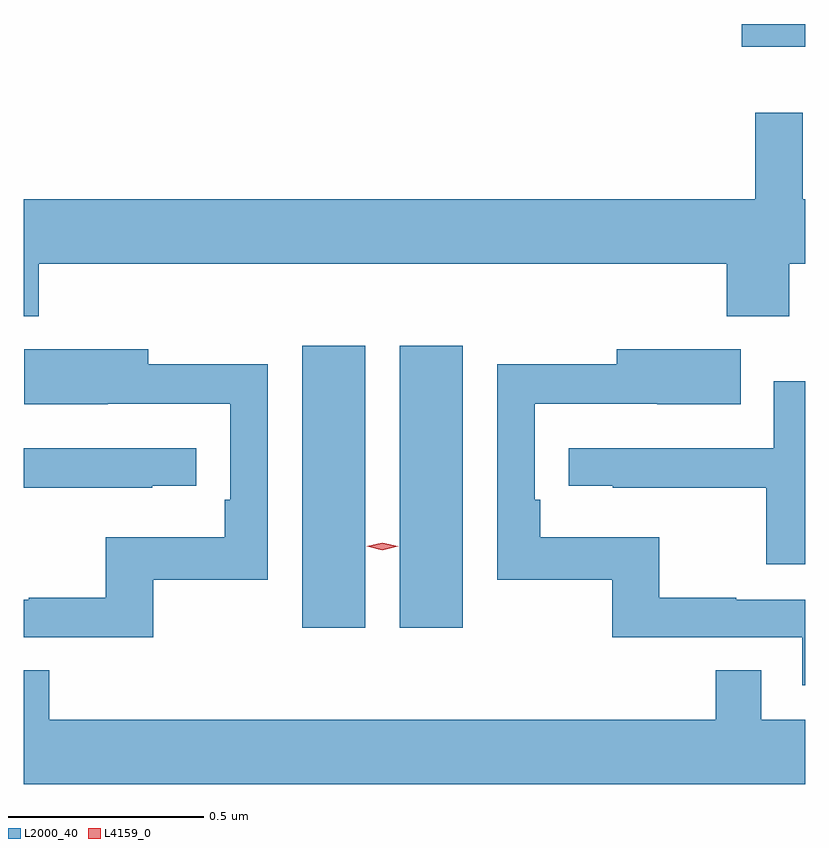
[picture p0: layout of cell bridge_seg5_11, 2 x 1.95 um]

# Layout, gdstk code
import gdstk
lib = gdstk.Library(unit=1e-6, precision=1e-09)
def R(c, l, rs):  # rectangles x0, y0, x1, y1
    for r in rs: c.add(gdstk.rectangle(r[:2], r[2:], *l))
def P(c, l, *ps):  # polygons
    for p in ps: c.add(gdstk.Polygon(p, *l))
L2000_40 = (2000, 40)
L4159_0 = (4159, 0)

bridge_seg5_11 = lib.new_cell('bridge_seg5_11')
R(bridge_seg5_11, L2000_40, [(1113.713,853.164,1113.874,853.885), (1113.962,853.164,1114.123,853.885), (1114.838,854.651,1115,854.709)])
P(bridge_seg5_11, L2000_40, [(1113.038,854.096),(1114.799,854.096),(1114.799,853.961),(1114.959,853.961),(1114.959,854.096),(1115,854.096),(1115,854.26),(1114.993,854.26),(1114.993,854.482),(1114.872,854.482),(1114.872,854.26),(1113,854.26),(1113,853.961),(1113.038,853.961)],
  [(1115,853.236),(1114.823,853.236),(1114.823,853.241),(1114.627,853.241),(1114.627,853.396),(1114.322,853.396),(1114.322,853.492),(1114.308,853.492),(1114.308,853.737),(1114.621,853.737),(1114.621,853.736),(1114.835,853.736),(1114.835,853.876),(1114.517,853.876),(1114.517,853.838),(1114.212,853.838),(1114.212,853.287),(1114.506,853.287),(1114.506,853.14),(1114.992,853.14),(1114.992,853.017),(1115,853.017)],
  [(1113.331,853.287),(1113.624,853.287),(1113.624,853.838),(1113.319,853.838),(1113.319,853.876),(1113.001,853.876),(1113.001,853.736),(1113.215,853.736),(1113.215,853.737),(1113.528,853.737),(1113.528,853.492),(1113.515,853.492),(1113.515,853.396),(1113.21,853.396),(1113.21,853.241),(1113.013,853.241),(1113.013,853.236),(1113,853.236),(1113,853.14),(1113.331,853.14)],
  [(1115,853.795),(1114.92,853.795),(1114.92,853.623),(1114.395,853.623),(1114.395,853.527),(1114.507,853.527),(1114.507,853.522),(1114.9,853.522),(1114.9,853.326),(1115,853.326)],
  [(1113.329,853.527),(1113.442,853.527),(1113.442,853.623),(1113,853.623),(1113,853.522),(1113.329,853.522)],
  [(1115,852.928),(1114.887,852.928),(1114.887,853.055),(1114.771,853.055),(1114.771,852.928),(1113.065,852.928),(1113.065,853.055),(1113,853.055),(1113,852.764),(1115,852.764)])
P(bridge_seg5_11, L4159_0, [(1113.918,853.362),(1113.878,853.372),(1113.878,853.372),(1113.878,853.372),(1113.918,853.382),(1113.958,853.372),(1113.958,853.372),(1113.958,853.372)])

lib.write_gds('bridge_seg5_11.gds')
